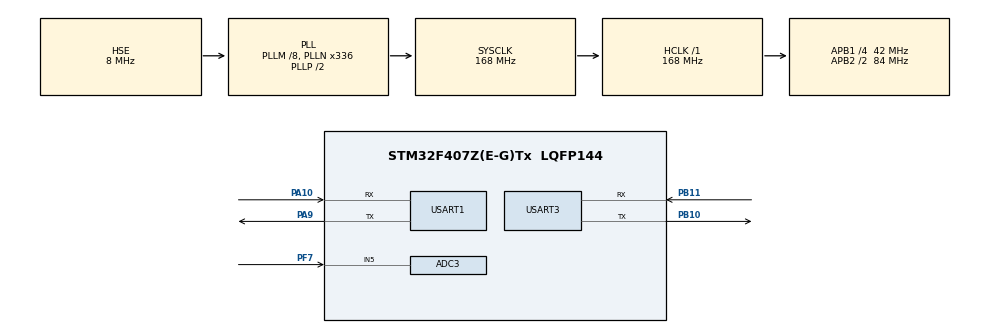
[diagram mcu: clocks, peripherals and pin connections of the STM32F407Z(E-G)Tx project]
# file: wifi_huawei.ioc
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ADC3.Channel-1\#ChannelRegularConversion=ADC_CHANNEL_5
ADC3.ClockPrescaler=ADC_CLOCK_SYNC_PCLK_DIV6
ADC3.NbrOfConversionFlag=1
ADC3.Rank-1\#ChannelRegularConversion=1
ADC3.SamplingTime-1\#ChannelRegularConversion=ADC_SAMPLETIME_3CYCLES
Mcu.Family=STM32F4
Mcu.Name=STM32F407Z(E-G)Tx
Mcu.Package=LQFP144
NVIC.PriorityGroup=NVIC_PRIORITYGROUP_4
NVIC.USART1_IRQn=true\:0\:0\:false\:false\:true\:true\:true\:true
NVIC.USART3_IRQn=true\:0\:0\:false\:false\:true\:true\:true\:true
PA10.Mode=Asynchronous
PA10.Signal=USART1_RX
PA13.Mode=Serial_Wire
PA13.Signal=SYS_JTMS-SWDIO
PA14.Mode=Serial_Wire
PA14.Signal=SYS_JTCK-SWCLK
PA9.Mode=Asynchronous
PA9.Signal=USART1_TX
PB10.Mode=Asynchronous
PB10.Signal=USART3_TX
PB11.Mode=Asynchronous
PB11.Signal=USART3_RX
PF7.Mode=IN5
PF7.Signal=ADC3_IN5
PH0-OSC_IN.Mode=HSE-External-Oscillator
PH0-OSC_IN.Signal=RCC_OSC_IN
PH1-OSC_OUT.Mode=HSE-External-Oscillator
PH1-OSC_OUT.Signal=RCC_OSC_OUT
ProjectManager.HeapSize=0x200
ProjectManager.StackSize=0x400
ProjectManager.TargetToolchain=MDK-ARM V5.32
RCC.48MHZClocksFreq_Value=84000000
RCC.AHBFreq_Value=168000000
RCC.APB1CLKDivider=RCC_HCLK_DIV4
RCC.APB1Freq_Value=42000000
RCC.APB1TimFreq_Value=84000000
RCC.APB2CLKDivider=RCC_HCLK_DIV2
RCC.APB2Freq_Value=84000000
RCC.APB2TimFreq_Value=168000000
RCC.CortexFreq_Value=168000000
RCC.HCLKFreq_Value=168000000
RCC.HSE_VALUE=8000000
RCC.HSI_VALUE=16000000
RCC.LSE_VALUE=32768
RCC.PLLM=8
RCC.PLLN=336
RCC.PLLSourceVirtual=RCC_PLLSOURCE_HSE
RCC.SYSCLKFreq_VALUE=168000000
RCC.SYSCLKSource=RCC_SYSCLKSOURCE_PLLCLK
RCC.VCOOutputFreq_Value=336000000
USART1.VirtualMode=VM_ASYNC
USART3.VirtualMode=VM_ASYNC
board=custom

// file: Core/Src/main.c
/* USER CODE BEGIN Header */
/**
  ******************************************************************************
  * @file           : main.c
  * @brief          : Main program body
  ******************************************************************************
  * @attention
  *
  * Copyright (c) 2024 STMicroelectronics.
  * All rights reserved.
  *
  * This software is licensed under terms that can be found in the LICENSE file
  * in the root directory of this software component.
  * If no LICENSE file comes with this software, it is provided AS-IS.
  *
  ******************************************************************************
  */
/* USER CODE END Header */
#include "main.h"
#include "adc.h"
#include "usart.h"
#include "gpio.h"

/* USER CODE BEGIN Includes */
#include "wifi_HW.h"
#include "dht11.h"
#include "delay.h"
#include "lcd.h"
#include "led.h"
#include "adc.h"
/* USER CODE END Includes */

void SystemClock_Config(void);

/* USER CODE BEGIN 0 */
uint8_t temperature;
uint8_t humidity;
uint8_t LED_Switch;
uint8_t temp_LED_Switch;
/* USER CODE END 0 */

int main(void)
{
  /* USER CODE BEGIN 1 */
	uint16_t time = 0;
	uint8_t adcx;
  /* USER CODE END 1 */

  /* MCU Configuration--------------------------------------------------------*/

  /* Reset of all peripherals, Initializes the Flash interface and the Systick. */
  HAL_Init();

  /* Configure the system clock */
  SystemClock_Config();

  /* Initialize all configured peripherals */
  MX_GPIO_Init();
  MX_USART1_UART_Init();
  MX_USART3_UART_Init();
  MX_ADC3_Init();
  /* USER CODE BEGIN 2 */
  delay_init(168);
  led_init();
  wifi_init();
  dht11_init();
  atk_mw8266d_uart_rx_restart();
  lcd_init();                         /* 初始化LCD */
  lcd_show_string(30, 130, 200, 16, 16, "Temp:  C", BLUE);
  lcd_show_string(30, 150, 200, 16, 16, "Humi:  %", BLUE);
  lcd_show_string(30, 170, 200, 16, 16, "LED:  ", BLUE);
  lcd_show_string(30, 190, 220, 16, 16, "time:  ", BLUE);
  lcd_show_string(30, 210, 200, 16, 16, "LSENS_VAL:", BLUE);
  LED_Switch = 0;
  temp_LED_Switch = 0;
  /* USER CODE END 2 */

  /* Infinite loop */
  /* USER CODE BEGIN WHILE */
  while (1)
  {
	  dht11_read_data(&temperature, &humidity);
	  adcx=Lsens_Get_Val();
	  lcd_show_num(30+10*8,210,adcx,3,16,0);//显示ADC的值
	  // 解析云平台下发信息
	  rcv_json();

	  time++;
	  if(time>50)
	  {
		  //printf("H:%d，T:%d\r\n",humidity,temperature);
		  report_Json(temperature,humidity,adcx);
		  time = 0;
	  }

	  lcd_show_num(30 + 40, 130, temperature, 2, 16, BLUE); /* 显示温度 */
	  lcd_show_num(30 + 40, 150, humidity, 2, 16, BLUE);    /* 显示湿度 */
	  lcd_show_num(30 + 40, 170, LED_Switch, 1, 16, BLUE);    /* 显示湿度 */
	  lcd_show_num(30 + 40, 190, time, 3, 16, BLUE);    /* 显示湿度 */

	  //控制灯的亮灭
	  if(LED_Switch == 1)
		  LED1(0);
	  else
		  LED1(1);

	  if(temp_LED_Switch == 1)
		  LED0(0);
	  else
		  LED0(1);

    /* USER CODE END WHILE */

  }
}

void SystemClock_Config(void)
{
  RCC_OscInitTypeDef RCC_OscInitStruct = {0};
  RCC_ClkInitTypeDef RCC_ClkInitStruct = {0};

  /** Configure the main internal regulator output voltage
  */
  __HAL_RCC_PWR_CLK_ENABLE();
  __HAL_PWR_VOLTAGESCALING_CONFIG(PWR_REGULATOR_VOLTAGE_SCALE1);

  /** Initializes the RCC Oscillators according to the specified parameters
  * in the RCC_OscInitTypeDef structure.
  */
  RCC_OscInitStruct.OscillatorType = RCC_OSCILLATORTYPE_HSE;
  RCC_OscInitStruct.HSEState = RCC_HSE_ON;
  RCC_OscInitStruct.PLL.PLLState = RCC_PLL_ON;
  RCC_OscInitStruct.PLL.PLLSource = RCC_PLLSOURCE_HSE;
  RCC_OscInitStruct.PLL.PLLM = 8;
  RCC_OscInitStruct.PLL.PLLN = 336;
  RCC_OscInitStruct.PLL.PLLP = RCC_PLLP_DIV2;
  RCC_OscInitStruct.PLL.PLLQ = 4;
  if (HAL_RCC_OscConfig(&RCC_OscInitStruct) != HAL_OK)
  {
    Error_Handler();
  }

  /** Initializes the CPU, AHB and APB buses clocks
  */
  RCC_ClkInitStruct.ClockType = RCC_CLOCKTYPE_HCLK|RCC_CLOCKTYPE_SYSCLK
                              |RCC_CLOCKTYPE_PCLK1|RCC_CLOCKTYPE_PCLK2;
  RCC_ClkInitStruct.SYSCLKSource = RCC_SYSCLKSOURCE_PLLCLK;
  RCC_ClkInitStruct.AHBCLKDivider = RCC_SYSCLK_DIV1;
  RCC_ClkInitStruct.APB1CLKDivider = RCC_HCLK_DIV4;
  RCC_ClkInitStruct.APB2CLKDivider = RCC_HCLK_DIV2;

  if (HAL_RCC_ClockConfig(&RCC_ClkInitStruct, FLASH_LATENCY_5) != HAL_OK)
  {
    Error_Handler();
  }
}

void Error_Handler(void)
{
  __disable_irq();
  while (1)
  {
  }
}
